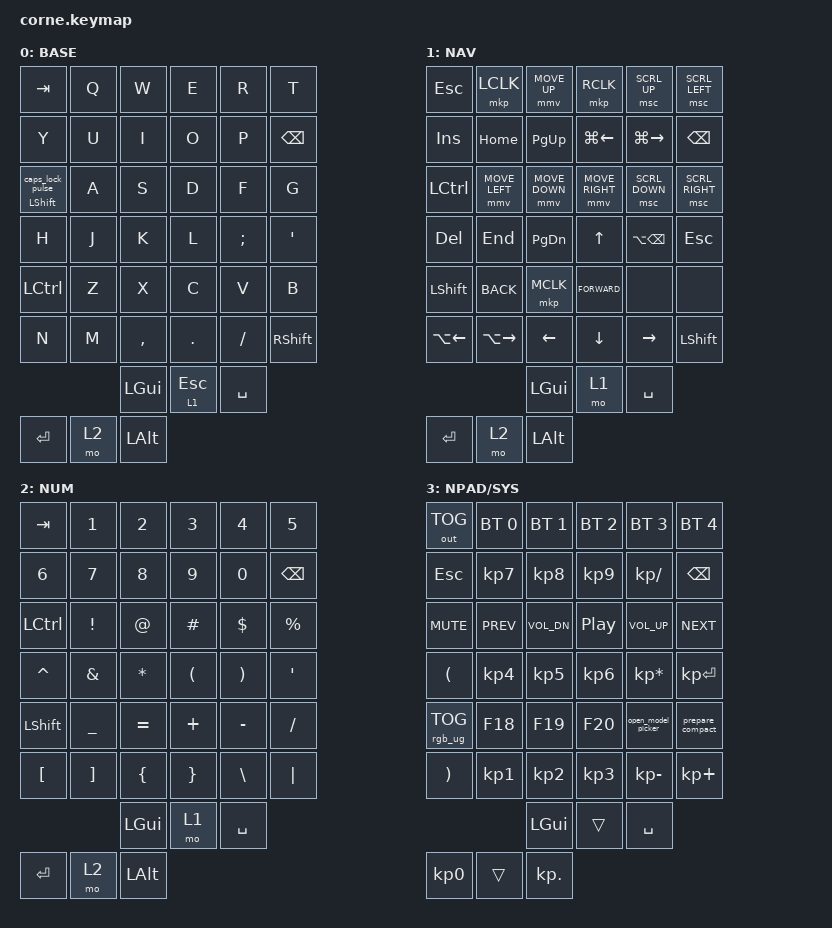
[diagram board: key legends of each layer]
/*
 * Sol / Luna Corne keymap
 *
 * Hardware: 42-key foostan Corne, nice!nano-compatible controllers,
 *           split Bluetooth, NICE!VIEW/OLED status displays.
 * Host: macOS first; standard HID shortcuts remain portable.
 */

#include <behaviors.dtsi>
#include <dt-bindings/zmk/bt.h>
#include <dt-bindings/zmk/keys.h>
#include <dt-bindings/zmk/mouse.h>
#include <dt-bindings/zmk/outputs.h>
#include <dt-bindings/zmk/pointing.h>
#include <dt-bindings/zmk/rgb.h>

&led_strip {
    chain-length = <27>;
};

/* Keep pointer motion usable for both precision and sustained movement. */
&mmv {
    time-to-max-speed-ms = <350>;
    acceleration-exponent = <1>;
};

/* Scrolling is intentionally slower than pointer motion. */
&msc {
    time-to-max-speed-ms = <550>;
    acceleration-exponent = <0>;
};

/* A quick tap is Escape; holding and pressing another key enters NAV. */
&lt {
    tapping-term-ms = <300>;
    flavor = "hold-preferred";
};

/ {
    behaviors {
        /* Tap = Caps Lock; hold = Left Shift. */
        caps_shift: caps_shift {
            compatible = "zmk,behavior-hold-tap";
            display-name = "CAPS_SHIFT";
            bindings = <&kp>, <&caps_lock_pulse>;
            #binding-cells = <2>;
            tapping-term-ms = <300>;
            flavor = "hold-preferred";
        };
    };

    macros {
        /* macOS deliberately ignores an accidental, near-zero Caps Lock pulse. */
        caps_lock_pulse: caps_lock_pulse {
            compatible = "zmk,behavior-macro";
            #binding-cells = <0>;
            tap-ms = <150>;
            bindings = <&kp CAPSLOCK>;
        };

        /* Open Codex's model picker without confirming a selection. */
        open_model_picker: open_model_picker {
            compatible = "zmk,behavior-macro";
            #binding-cells = <0>;
            wait-ms = <15>;
            bindings = <&kp SLASH &kp M &kp O &kp D &kp E &kp L>;
        };

        /* Manual confirmation with Enter is intentional and required. */
        prepare_compact: prepare_compact {
            compatible = "zmk,behavior-macro";
            #binding-cells = <0>;
            wait-ms = <15>;
            bindings = <&kp SLASH &kp C &kp O &kp M &kp P &kp A &kp C &kp T>;
        };
    };

    keymap {
        compatible = "zmk,keymap";

        BASE {
            display-name = "BASE";
            // | TAB | Q | W | E | R | T |   | Y | U | I | O | P | BSPC |
            // | CAPS/SHIFT | A | S | D | F | G | H | J | K | L | ; | ' |
            // | CTRL | Z | X | C | V | B | N | M | , | . | / | RSHIFT |
            //                 | CMD | NAV | SPC | ENT | NUM | OPT |
            bindings = <
                &kp TAB       &kp Q          &kp W          &kp E          &kp R          &kp T
                &kp Y         &kp U          &kp I          &kp O          &kp P          &kp BSPC
                &caps_shift LSHFT 0          &kp A          &kp S          &kp D          &kp F          &kp G
                &kp H         &kp J          &kp K          &kp L          &kp SEMI        &kp SQT
                &kp LCTRL     &kp Z          &kp X          &kp C          &kp V          &kp B
                &kp N         &kp M          &kp COMMA      &kp DOT        &kp FSLH        &kp RSHFT
                                             &kp LGUI      &lt 1 ESC      &kp SPACE
                &kp RET       &mo 2          &kp LALT
            >;
        };

        NAV {
            display-name = "NAV";
            // Left: Q/E click, W/A/S/D pointer, R/F vertical scroll, T/G horizontal scroll.
            // Right: conventional navigation cluster plus approved editing reserves.
            bindings = <
                &kp ESC       &mkp LCLK     &mmv MOVE_UP  &mkp RCLK     &msc SCRL_UP  &msc SCRL_LEFT
                &kp INS       &kp HOME      &kp PG_UP     &kp LG(LEFT)   &kp LG(RIGHT)  &kp BSPC
                &kp LCTRL     &mmv MOVE_LEFT &mmv MOVE_DOWN &mmv MOVE_RIGHT &msc SCRL_DOWN &msc SCRL_RIGHT
                &kp DELETE    &kp END       &kp PG_DN     &kp UP         &kp LA(BSPC)   &kp ESC
                &kp LSHIFT    &kp K_BACK    &mkp MCLK      &kp K_FORWARD  &none         &none
                &kp LA(LEFT)  &kp LA(RIGHT) &kp LEFT      &kp DOWN       &kp RIGHT      &kp LSHIFT
                                             &kp LGUI      &mo 1          &kp SPACE
                &kp RET       &mo 2          &kp LALT
            >;
        };

        NUM {
            display-name = "NUM";
            // Upper row is the agreed 1–5 / 6–0 split. Lower rows provide symbols.
            bindings = <
                &kp TAB       &kp N1        &kp N2        &kp N3        &kp N4        &kp N5
                &kp N6        &kp N7        &kp N8        &kp N9        &kp N0        &kp BSPC
                &kp LCTRL     &kp EXCL      &kp AT        &kp HASH       &kp DLLR      &kp PRCNT
                &kp CARET     &kp AMPS      &kp ASTERISK  &kp LPAR       &kp RPAR      &kp SQT
                &kp LSHIFT    &kp UNDER     &kp EQUAL     &kp PLUS       &kp MINUS     &kp FSLH
                &kp LBKT      &kp RBKT      &kp LBRC      &kp RBRC       &kp BSLH       &kp PIPE
                                             &kp LGUI      &mo 1          &kp SPACE
                &kp RET       &mo 2          &kp LALT
            >;
        };

        NPAD_SYS {
            display-name = "NPAD/SYS";
            // Left SYS: output, five direct Bluetooth profiles, media, and Vibe controls.
            // Right: calculator-style keypad while both layer thumbs are held.
            bindings = <
                &out OUT_TOG  &bt BT_SEL 0  &bt BT_SEL 1  &bt BT_SEL 2  &bt BT_SEL 3  &bt BT_SEL 4
                &kp ESC       &kp KP_N7    &kp KP_N8      &kp KP_N9      &kp KP_DIVIDE  &kp BSPC
                &kp C_MUTE    &kp C_PREV   &kp C_VOL_DN   &kp C_PP       &kp C_VOL_UP   &kp C_NEXT
                &kp LPAR      &kp KP_N4    &kp KP_N5      &kp KP_N6      &kp KP_MULTIPLY &kp KP_ENTER
                &rgb_ug RGB_TOG &kp F18     &kp F19        &kp F20        &open_model_picker &prepare_compact
                &kp RPAR      &kp KP_N1    &kp KP_N2      &kp KP_N3      &kp KP_MINUS   &kp KP_PLUS
                                             &kp LGUI      &trans         &kp SPACE
                &kp KP_N0     &trans        &kp KP_DOT
            >;
        };
    };

    conditional_layers {
        compatible = "zmk,conditional-layers";

        npad_sys_layer {
            if-layers = <1 2>;
            then-layer = <3>;
        };
    };
};
